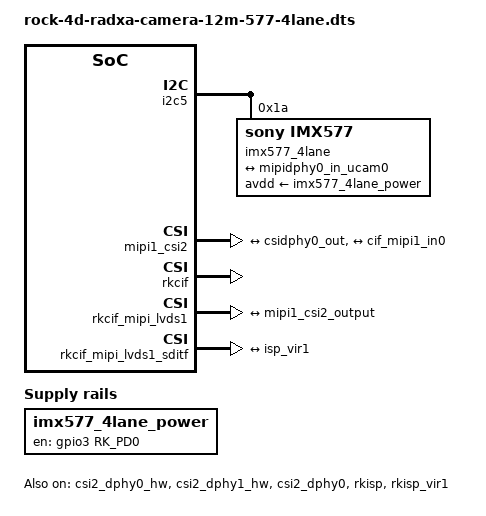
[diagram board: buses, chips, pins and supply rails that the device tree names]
/dts-v1/;
/plugin/;

#include <dt-bindings/power/rk3576-power.h>
#include <dt-bindings/gpio/gpio.h>
#include <dt-bindings/pinctrl/rockchip.h>

/ {
	metadata {
		title = "Enable Radxa Camera 12M 577 on 4-lane CSI (31-pin)";
		compatible = "radxa,rock-4d";
		category = "camera";
		exclusive = "GPIO3_D0", "csi2_dphy0", "i2c5";
		description = "Enable Radxa Camera 12M 577 on 4-lane CSI (31-pin)";
	};
};

&{/} {
	imx577_4lane_power: imx577-4lane-power {
		compatible = "regulator-fixed";
		regulator-name = "imx577_4lane_power";
		startup-delay-us = <250000>;
		off-on-delay-us = <20000>;
		enable-active-high;
		gpio = <&gpio3 RK_PD0 GPIO_ACTIVE_HIGH>;
		pinctrl-names = "default";
		pinctrl-0 = <&imx577_4lane_power_pin>;
	};
};

&i2c5 {
	status = "okay";
	pinctrl-names = "default";
	pinctrl-0 = <&i2c5m3_xfer>;
	#address-cells = <1>;
	#size-cells = <0>;

	imx577_4lane: imx577@1a {
		status = "okay";
		compatible = "sony,imx577";
		reg = <0x1a>;
		power-domains = <&power RK3576_PD_VI>;
		avdd-supply = <&imx577_4lane_power>;
		rockchip,camera-module-index = <0>;
		rockchip,camera-module-facing = "back";
		rockchip,camera-module-name = "RADXA-CAMERA-12M";
		rockchip,camera-module-lens-name = "default";

		port {
			imx577_out1: endpoint {
				remote-endpoint = <&mipidphy0_in_ucam0>;
				data-lanes = <1 2 3 4>;
			};
		};
	};
};

&csi2_dphy0_hw {
	status = "okay";
};

&csi2_dphy1_hw {
	status = "okay";
};

&csi2_dphy0 {
	status = "okay";

	ports {
		#address-cells = <1>;
		#size-cells = <0>;

		port@0 {
			reg = <0>;
			#address-cells = <1>;
			#size-cells = <0>;

			mipidphy0_in_ucam0: endpoint@1 {
				reg = <1>;
				remote-endpoint = <&imx577_out1>;
				data-lanes = <1 2 3 4>;
			};
		};

		port@1 {
			reg = <1>;
			#address-cells = <1>;
			#size-cells = <0>;

			csidphy0_out: endpoint@0 {
				reg = <0>;
				remote-endpoint = <&mipi1_csi2_input>;
			};
		};
	};
};

&mipi1_csi2 {
	status = "okay";

	ports {
		#address-cells = <1>;
		#size-cells = <0>;

		port@0 {
			reg = <0>;
			#address-cells = <1>;
			#size-cells = <0>;

			mipi1_csi2_input: endpoint@1 {
				reg = <1>;
				remote-endpoint = <&csidphy0_out>;
			};
		};

		port@1 {
			reg = <1>;
			#address-cells = <1>;
			#size-cells = <0>;

			mipi1_csi2_output: endpoint@0 {
				reg = <0>;
				remote-endpoint = <&cif_mipi1_in0>;
			};
		};
	};
};

&rkcif {
	status = "okay";
};

&rkcif_mmu {
	status = "okay";
};

&rkcif_mipi_lvds1 {
	status = "okay";

	port {
		cif_mipi1_in0: endpoint {
			remote-endpoint = <&mipi1_csi2_output>;
		};
	};
};

&rkcif_mipi_lvds1_sditf {
	status = "okay";

	port {
		mipi_lvds1_sditf: endpoint {
			remote-endpoint = <&isp_vir1>;
		};
	};
};

&rkisp {
	status = "okay";
};

&rkisp_mmu {
	status = "okay";
};

&rkisp_vir1 {
	status = "okay";

	port {
		#address-cells = <1>;
		#size-cells = <0>;

		isp_vir1: endpoint@0 {
			reg = <0>;
			remote-endpoint = <&mipi_lvds1_sditf>;
		};
	};
};

&pinctrl {
	camera {
		imx577_4lane_power_pin: imx577-4lane-power-pin {
			rockchip,pins = <3 RK_PD0 RK_FUNC_GPIO &pcfg_pull_up>;
		};
	};
};
